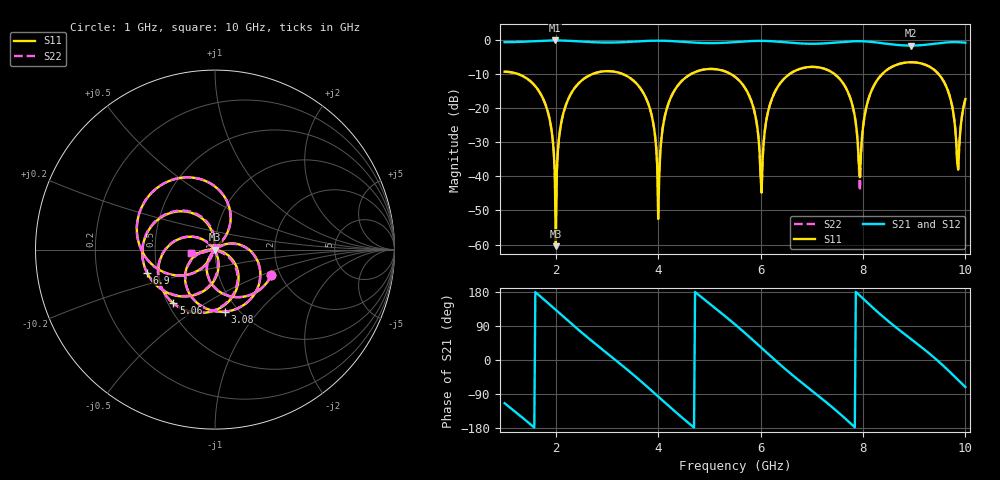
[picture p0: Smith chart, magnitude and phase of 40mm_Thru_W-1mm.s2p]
! Touchstone file exported from HFSS 2018.2.0
!  File:  C:/Users/10024/OneDrive - The University of Nottingham Ningbo China/Year 4/Final Year Project/HFSS project/Patch-1.aedt
!  Generated:  3:15:20 下午  3月 11, 2022
!  Design:  SMA_Thru
!  Project:  Patch-1
!  Setup:  Setup1
!  Solution:  Sweep
! Variables:
!  MW = 1mm
!  ThruL = 40mm
!  g = 0.2mm
!  subH = 0.8mm
!  subX = 20mm
!  subY = 50mm
# GHZ S MA R 50.000000
! Modal data exported
! Port[1] = SMA_CONNECTOR1_1:1
! Port[2] = SMA_CONNECTOR2_1:1
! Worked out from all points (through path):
!   451 points, 1 GHz to 10 GHz, reference 50 ohm
!   highest |S21| = -0.07 dB at 1.98 GHz (marker M1); lowest = -1.6 dB at 8.94 GHz (marker M2)
!   group delay of S21, straight-line fit = 319 ps
!   lowest |S11| = -60.5 dB at 2 GHz (marker M3), VSWR 1.00, Z = 50.1 - j0.056 ohm
!   |S11| at or under -10 dB: 1.275 GHz to 2.705 GHz (1.43 GHz wide, 71.9 % of centre); 3.318 GHz to 4.633 GHz (1.315 GHz wide, 33.1 % of centre); 5.426 GHz to 6.56 GHz (1.134 GHz wide, 18.9 % of centre)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
!   |S22| runs from -51.8 to -6.5 dB; largest |S21 - S12| = 2.2e-13
!   S11 on the Smith chart (normalised r, x): 1 GHz: 1.80, -0.58; 3.08 GHz: 0.87, -0.68; 5.06 GHz: 0.53, -0.37; 6.9 GHz: 0.44, -0.13; 10 GHz: 0.76, -0.03
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1  0.3447 -24.2  0.9355 -114.0  0.9355 -114.0  0.3447 -24.0
! Gamma ! 0.0151858380091502 30.3716836111875 0.0151858380091325 30.3716836112099
! Port Impedance50 0 50 0
1.74  0.1444 -107.0  0.9828 163.0  0.9828 163.0  0.1444 -106.5
1.98  0.01142 -131.3  0.992 134.4  0.992 134.4  0.01165 -123.4
2  0.0009457 -36.2  0.9919 132.0  0.9919 132.0  0.002565 -43.7
2.5  0.2539 -17.4  0.9568 73.1  0.9568 73.1  0.254 -17.8
3.08  0.3499 -81.1  0.9248 9.2  0.9248 9.2  0.35 -81.2
3.76  0.142 -157.7  0.9757 -67.6  0.9757 -67.6  0.142 -156.3
4  0.002372 -169.3  0.9845 -96.5  0.9845 -96.5  0.006397 -117.4
4.28  0.1627 -40.7  0.9696 -130.2  0.9696 -130.2  0.163 -43.1
5.06  0.3783 -127.7  0.9071 142.5  0.9071 142.5  0.3785 -128.8
5.5  0.2901 -176.0  0.9381 94.0  0.9381 94.0  0.2902 -176.7
6.02  0.005762 -99.6  0.9776 31.7  0.9776 31.7  0.006827 -109.6
6.26  0.1625 -89.8  0.9622 2.3  0.9622 2.3  0.1627 -91.1
6.9  0.4003 -161.3  0.8894 -70.2  0.8894 -70.2  0.4006 -162.3
7  0.4059 -172.0  0.8871 -80.9  0.8871 -80.9  0.4062 -173.0
7.66  0.2034 115.1  0.951 -155.3  0.951 -155.3  0.2036 113.6
7.94  0.009711 -169.9  0.9669 169.7  0.9669 169.7  0.006139 -157.3
8.5  0.3808 -171.7  0.8804 101.8  0.8804 101.8  0.381 -171.5
8.94  0.4747 141.8  0.8348 55.0  0.8348 55.0  0.4752 141.8
9.58  0.2456 70.9  0.9205 -16.6  0.9205 -16.6  0.2462 71.0
9.84  0.01609 74.3  0.9377 -50.4  0.9377 -50.4  0.01742 77.2
10  0.1366 -171.8  0.9179 -71.4  0.9179 -71.4  0.1364 -172.9
